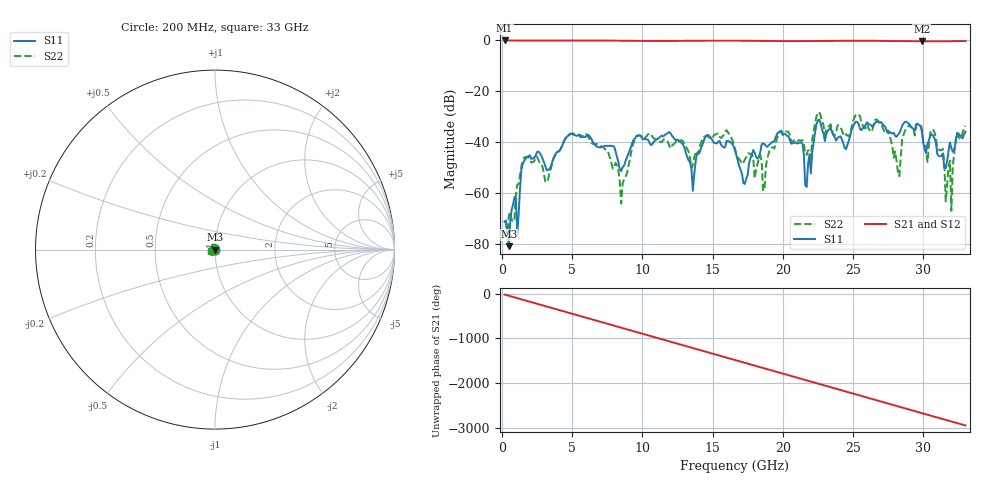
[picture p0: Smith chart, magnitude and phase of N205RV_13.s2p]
# GHZ S RI R 50
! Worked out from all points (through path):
!   329 points, 200 MHz to 33 GHz, reference 50 ohm
!   highest |S21| = -0.02 dB at 200 MHz (marker M1); lowest = -0.4 dB at 29.9 GHz (marker M2)
!   group delay of S21, straight-line fit = 248 ps
!   lowest |S11| = -81.0 dB at 500 MHz (marker M3), VSWR 1.00, Z = 50 - j0.00678 ohm
!   |S11| at or under -10 dB: start of sweep to end of sweep
!   |S22| runs from -78.9 to -28.2 dB; largest |S21 - S12| = 0.0019
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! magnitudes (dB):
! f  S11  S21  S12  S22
! 200 MHz  -71.3  0.0  0.0  -71.1
! 500 MHz  -81.0  0.0  0.0  -68.9
! 1.7 GHz  -46.5  -0.1  -0.1  -45.9
! 5.7 GHz  -37.6  -0.1  -0.1  -38.1
! 8.5 GHz  -51.4  -0.1  -0.1  -64.2
! 9.6 GHz  -37.5  -0.2  -0.2  -37.7
! 11.2 GHz  -38.3  -0.2  -0.2  -39.8
! 13.6 GHz  -59.1  -0.2  -0.2  -48.9
! 14.5 GHz  -37.7  -0.1  -0.1  -37.8
! 16.6 GHz  -43.3  -0.1  -0.1  -42.8
! 18.6 GHz  -40.6  -0.2  -0.2  -59.2
! 19.8 GHz  -35.8  -0.3  -0.3  -35.9
! 22.1 GHz  -43.8  -0.3  -0.3  -38.8
! 27.6 GHz  -35.9  -0.2  -0.2  -37.2
! 28.3 GHz  -36.4  -0.3  -0.3  -53.4
! 29.9 GHz  -35.9  -0.4  -0.4  -34.6
! 31.4 GHz  -44.5  -0.3  -0.3  -42.7
! 31.6 GHz  -50.2  -0.3  -0.3  -63.3
! 31.9 GHz  -40.1  -0.3  -0.3  -47.3
! 32 GHz  -42.4  -0.3  -0.3  -67.0
! 32.3 GHz  -40.4  -0.3  -0.3  -39.7
! 33 GHz  -35.9  -0.3  -0.3  -33.7
